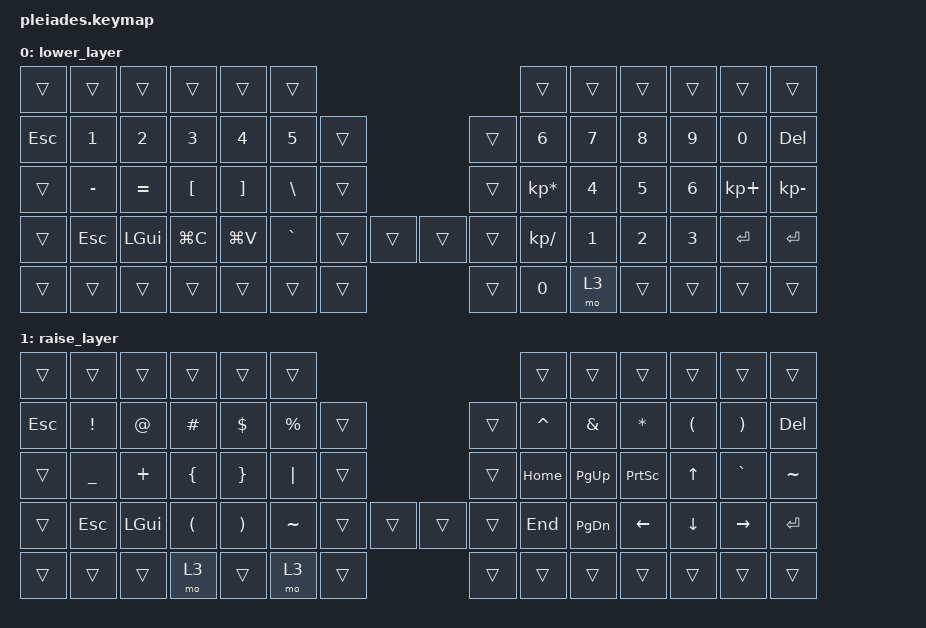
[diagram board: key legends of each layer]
/*
 * Copyright (c) 2021 The ZMK Contributors
 *
 * SPDX-License-Identifier: MIT
 */

#include <behaviors.dtsi>
#include <dt-bindings/zmk/keys.h>
#include <dt-bindings/zmk/bt.h>
#include <dt-bindings/zmk/ext_power.h>
#include <dt-bindings/zmk/outputs.h>

/ {
    keymap {
        compatible =  "zmk,keymap" ;

        default_layer {
// ------------------------------------------------------------------------------------------------------------------------------------------------------
// | GRAVE   |    1    |    2    |    3    |    4    |    5    |               ---               |    6    |    7    |   8   |  9   |   0   |    -    |
// | TAB     |    Q    |    W    |    F    |    P    |    B    |               ---               |    J    |    L    |   U   |  Y   |   ;   |    =    |
// | ESC     |    A    |    R    |    S    |    T    |    G    |               ---               |    M    |    N    |   E   |  I   |   O   |    '    |
// | SHIFT   |    Z    |    X    |    C    |    D    |    V    |               ---               |    K    |    H    |   ,   |  .   |   /   |  SHIFT  |
// | GUI     |   ALT   |   COPY  |  PASTE  |   MEH   |  BKSP   |   DEL   |     ---     |  ENTER  |  SPACE  |  ARROW  | HOME  | END  | PG_UP | PG_DOWN |
            bindings = <
   &kp ESC   &kp N1   &kp N2    &kp N3         &kp N4   &kp N5                                           &kp N6    &kp N7 &kp N8    &kp N9   &kp N0   &kp BSPC
   &kp TAB   &kp Q    &kp W     &kp E          &kp R    &kp T                                            &kp Y     &kp U  &kp I     &kp O    &kp P    &kp MINUS
   &kp LCTRL &kp A    &kp S     &kp D          &kp F    &kp G                                            &kp H     &kp J  &kp K     &kp L    &kp SEMI &kp SQT
   &kp LSHFT &kp Z    &kp X     &kp C          &kp V    &kp B  &kp PG_UP &kp PG_DN    &kp HOME &kp END   &kp N     &kp M  &kp COMMA &kp DOT  &kp FSLH &mt RSHFT RET
   &kp LGUI  &kp LALT &kp LC(C) &kp LC(LS(LALT)      &kp LGUI    &mo 1     &kp SPACE    &kp DEL  &kp SPACE       &mo 2      &kp LEFT  &kp DOWN &kp UP   &kp RIGHT
            >;

        };
        
        lower_layer {
// --------------------------------------------------------------------------------------------------------------------------
// | ESC   |  1  |  2  |   3   |   4   |  5  |                   ---              |  6  |  7  |   8  |  9   |  0  |  DEL  |
// | ESC   |  1  |  2  |   3   |   4   |  5  |   (   |           ---        |  )  |  6  |  7  |   8  |  9   |  0  |  DEL  |
// | CTRL  |  -  |  =  |   [   |   ]   |  \  |   [   |           ---        |  ]  |  *  |  4  |   5  |  6   |  +  |   -   |
// | SHIFT | ESC | GUI | COPY  | PASTE |     | PG_UP | PG_DOWN | --- | HOME | END |  \  |  1  |   2  |  3   | RET |  RET  |
// | CRTL  | ALT | GUI | LOWER |     GUI     | LOWER | SPACE   | --- | DEL  |  0  |    RAISE  | LEFT | DOWN | UP  | RIGHT |
            bindings = <
   &trans  &trans    &trans    &trans    &trans    &trans                                &trans          &trans    &trans    &trans    &trans      &trans
   &kp ESC &kp N1    &kp N2    &kp N3    &kp N4    &kp N5    &trans               &trans &kp N6          &kp N7    &kp N8    &kp N9    &kp N0      &kp DEL
   &trans  &kp MINUS &kp EQUAL &kp LBKT  &kp RBKT  &kp BSLH  &trans               &trans &kp KP_MULTIPLY &kp N4    &kp N5    &kp N6    &kp KP_PLUS &kp KP_MINUS
   &trans  &kp ESC   &kp LGUI  &kp LG(C) &kp LG(V) &kp GRAVE &trans &trans &trans &trans &kp KP_DIVIDE   &kp N1    &kp N2    &kp N3    &kp RET     &kp RET
   &trans  &trans    &trans    &trans          &trans        &trans &trans &trans &kp N0          &mo 3            &trans    &trans    &trans      &trans
            >;
        };

        raise_layer {
// ----------------------------------------------------------------------------------------------------------------------------
// | ESC   |  1  |  2  |   3   |  4  |  5  |                   ---                |  6   |  7   |  8   |  9   |  0    |  DEL  |
// | ESC   |  !  |  @  |   #   |  $  |  %  |   (   |           ---        |  )    |  ^   |  &   |  *   |  (   |  )    |  DEL  |
// | CTRL  |  _  |  +  |   {   |  }  | "|" |   [   |           ---        |  ]    | HOME | PGUP | PRSC | UP   |  `    |   ~   |
// | SHIFT | ESC | GUI |   (   |  )  |     | PG_UP | PG_DOWN | --- | HOME | END   | END  | PGDN | LEFT | DOWN | RIGHT |  RET  |
// | CRTL  | ALT | GUI | LOWER |    GUI    | LOWER | SPACE   | --- | DEL  | SPACE |    RAISE    | LEFT | DOWN | UP    | RIGHT |
            bindings = <
   &trans  &trans    &trans   &trans   &trans   &trans                                &trans    &trans    &trans    &trans   &trans    &trans
   &kp ESC &kp EXCL  &kp AT   &kp HASH &kp DLLR &kp PRCNT &trans               &trans &kp CARET &kp AMPS  &kp ASTRK &kp LPAR &kp RPAR  &kp DEL
   &trans  &kp UNDER &kp PLUS &kp LBRC &kp RBRC &kp PIPE  &trans               &trans &kp HOME  &kp PG_UP &kp PSCRN &kp UP   &kp GRAVE &kp TILDE
   &trans  &kp ESC   &kp LGUI &kp LPAR &kp RPAR &kp TILDE &trans &trans &trans &trans &kp END   &kp PG_DN &kp LEFT  &kp DOWN &kp RIGHT &kp RET
   &trans  &trans    &trans   &mo 3         &trans        &mo 3  &trans &trans &trans        &trans       &trans    &trans   &trans    &trans
            >;
        };
    };
};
